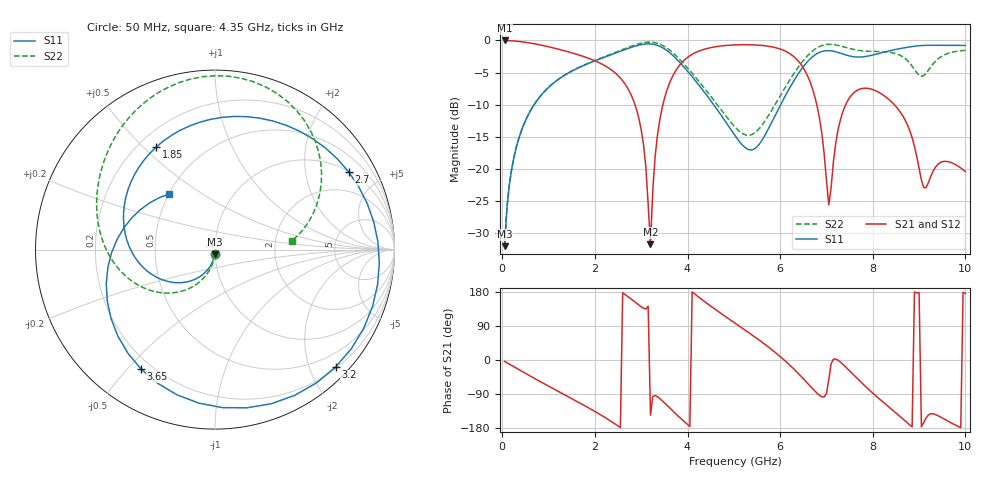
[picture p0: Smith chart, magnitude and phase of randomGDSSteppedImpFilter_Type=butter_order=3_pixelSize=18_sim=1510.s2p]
! freq	dB(S11)	phase(S11)	dB(S12)	phase(S12)
!  dB(S21)	phase(S21)	dB(S22)	phase(S22)
!S-par simulation data
#  GHz  S  DB  R 50
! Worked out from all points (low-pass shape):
!   200 points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, 50 MHz to 10 GHz, reference 50 ohm
!   highest |S21| = -0.01 dB at 50 MHz (marker M1); lowest = -31.7 dB at 3.2 GHz (marker M2)
!   |S21| within 3 dB of the highest: start of sweep to 1.947 GHz; 3.94 GHz to 6.365 GHz (2.426 GHz wide, 47.1 % of centre)
!   lowest |S11| = -32.0 dB at 50 MHz (marker M3), VSWR 1.05, Z = 49.8 - j2.51 ohm
!   |S11| at or under -10 dB: start of sweep to 687.5 MHz; 4.565 GHz to 6.01 GHz (1.444 GHz wide, 27.3 % of centre)
!   |S22| runs from -32.0 to -0.3 dB; largest |S21 - S12| = 0
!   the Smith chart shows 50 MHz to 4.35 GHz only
!   S11 on the Smith chart (normalised r, x): 50 MHz: 1.00, -0.05; 1.85 GHz: 0.27, +0.55; 2.7 GHz: 1.02, +3.43; 3.2 GHz: 0.22, -2.44; 3.65 GHz: 0.16, -0.55; 4.35 GHz: 0.50, +0.37
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0.05  -31.97 -93.0  -0.01 -3.6  -0.01 -3.6  -31.96 -92.0
0.5  -12.49 -130.8  -0.30 -35.2  -0.30 -35.2  -12.47 -120.6
1.75  -3.92 128.4  -2.49 -118.6  -2.49 -118.6  -3.88 173.0
1.85  -3.62 119.6  -2.75 -125.4  -2.75 -125.4  -3.56 168.1
2.7  -1.30 30.1  -7.34 168.5  -7.34 168.5  -1.13 123.0
3.05  -0.60 -19.9  -16.24 136.6  -16.24 136.6  -0.36 98.2
3.2  -0.56 -44.3  -31.71 -145.7  -31.71 -145.7  -0.27 85.7
3.4  -0.92 -78.6  -12.38 -101.6  -12.38 -101.6  -0.58 68.1
3.65  -2.13 -121.7  -5.99 -130.8  -5.99 -130.8  -1.72 46.9
4.35  -7.92 129.5  -1.40 155.8  -1.40 155.8  -7.31 6.7
5.05  -15.04 14.5  -0.69 95.3  -0.69 95.3  -13.66 2.5
5.95  -10.84 163.6  -1.23 14.3  -1.23 14.3  -9.25 36.2
6.7  -2.54 19.0  -7.55 -75.5  -7.55 -75.5  -1.65 -7.0
7.05  -1.59 -56.7  -25.57 -52.0  -25.57 -52.0  -0.61 -38.6
7.15  -1.69 -79.1  -18.87 1.9  -18.87 1.9  -0.65 -47.0
7.6  -2.55 179.8  -8.08 -41.1  -8.08 -41.1  -1.43 -77.1
7.95  -2.36 111.2  -7.54 -82.0  -7.54 -82.0  -1.70 -97.2
8.35  -1.64 53.5  -9.20 -123.9  -9.20 -123.9  -1.83 -128.1
8.75  -1.07 12.8  -13.15 -166.1  -13.15 -166.1  -3.15 173.1
9  -0.83 -7.5  -19.90 177.9  -19.90 177.9  -5.42 90.2
9.3  -0.76 -28.2  -20.35 -142.0  -20.35 -142.0  -3.67 -25.0
10  -0.79 -65.0  -20.39 175.7  -20.39 175.7  -1.55 -120.0
